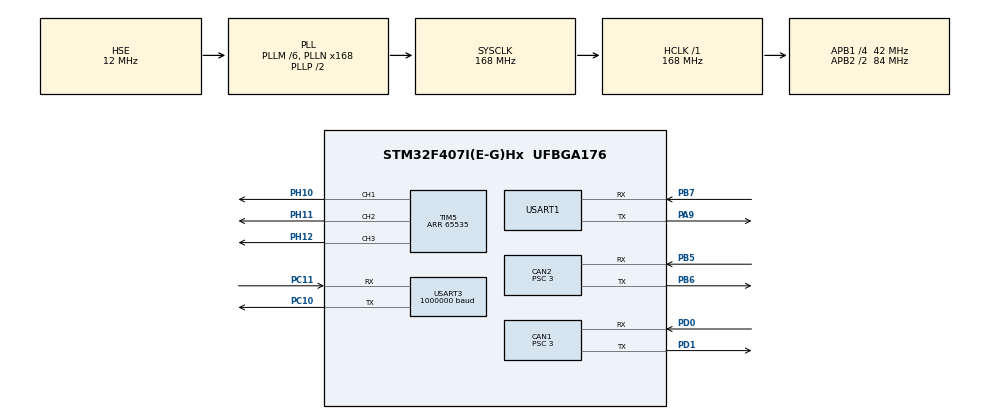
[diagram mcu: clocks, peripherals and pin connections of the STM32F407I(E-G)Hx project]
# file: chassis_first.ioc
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CAN1.BS1=CAN_BS1_10TQ
CAN1.BS2=CAN_BS2_3TQ
CAN1.CalculateBaudRate=1000000
CAN1.CalculateTimeBit=1000
CAN1.CalculateTimeQuantum=71.42857142857143
CAN1.Prescaler=3
CAN2.BS1=CAN_BS1_10TQ
CAN2.BS2=CAN_BS2_3TQ
CAN2.CalculateBaudRate=1000000
CAN2.CalculateTimeBit=1000
CAN2.CalculateTimeQuantum=71.42857142857143
CAN2.Prescaler=3
Dma.Request0=USART1_TX
Dma.Request1=USART3_RX
Dma.USART1_TX.0.Direction=DMA_MEMORY_TO_PERIPH
Dma.USART1_TX.0.FIFOMode=DMA_FIFOMODE_DISABLE
Dma.USART1_TX.0.Instance=DMA2_Stream7
Dma.USART1_TX.0.MemDataAlignment=DMA_MDATAALIGN_BYTE
Dma.USART1_TX.0.MemInc=DMA_MINC_ENABLE
Dma.USART1_TX.0.Mode=DMA_NORMAL
Dma.USART1_TX.0.PeriphDataAlignment=DMA_PDATAALIGN_BYTE
Dma.USART1_TX.0.PeriphInc=DMA_PINC_DISABLE
Dma.USART1_TX.0.Priority=DMA_PRIORITY_VERY_HIGH
Dma.USART3_RX.1.Direction=DMA_PERIPH_TO_MEMORY
Dma.USART3_RX.1.FIFOMode=DMA_FIFOMODE_DISABLE
Dma.USART3_RX.1.Instance=DMA1_Stream1
Dma.USART3_RX.1.MemDataAlignment=DMA_MDATAALIGN_BYTE
Dma.USART3_RX.1.MemInc=DMA_MINC_ENABLE
Dma.USART3_RX.1.Mode=DMA_CIRCULAR
Dma.USART3_RX.1.PeriphDataAlignment=DMA_PDATAALIGN_BYTE
Dma.USART3_RX.1.PeriphInc=DMA_PINC_DISABLE
Dma.USART3_RX.1.Priority=DMA_PRIORITY_VERY_HIGH
FREERTOS.Tasks01=LED_Task,0,128,LED_Task_entry,As weak,NULL,Dynamic,NULL,NULL;Chassis_Task,-3,128,Chassis_Task_entry,As weak,NULL,Dynamic,NULL,NULL;Task_three,-3,128,Three_entry,As weak,NULL,Dynamic,NULL,NULL
Mcu.Family=STM32F4
Mcu.Name=STM32F407I(E-G)Hx
Mcu.Package=UFBGA176
NVIC.CAN1_RX0_IRQn=true\:5\:0\:false\:false\:true\:true\:true\:true\:true
NVIC.CAN2_RX0_IRQn=true\:5\:0\:false\:false\:true\:true\:true\:true\:true
NVIC.DMA1_Stream1_IRQn=true\:5\:0\:false\:false\:true\:true\:false\:true\:true
NVIC.DMA2_Stream7_IRQn=true\:5\:0\:false\:false\:true\:true\:false\:true\:true
NVIC.PriorityGroup=NVIC_PRIORITYGROUP_4
NVIC.TIM6_DAC_IRQn=true\:15\:0\:false\:false\:true\:false\:false\:true\:true
NVIC.TimeBase=TIM6_DAC_IRQn
NVIC.TimeBaseIP=TIM6
NVIC.USART1_IRQn=true\:5\:0\:false\:false\:true\:true\:false\:true\:true
NVIC.USART3_IRQn=true\:5\:0\:false\:false\:true\:true\:true\:true\:true
PA13.Mode=Serial_Wire
PA13.Signal=SYS_JTMS-SWDIO
PA14.Mode=Serial_Wire
PA14.Signal=SYS_JTCK-SWCLK
PA9.Mode=Asynchronous
PA9.Signal=USART1_TX
PB5.Mode=CAN_Activate
PB5.Signal=CAN2_RX
PB6.Mode=CAN_Activate
PB6.Signal=CAN2_TX
PB7.Mode=Asynchronous
PB7.Signal=USART1_RX
PC10.Mode=Asynchronous
PC10.Signal=USART3_TX
PC11.Mode=Asynchronous
PC11.Signal=USART3_RX
PD0.Mode=CAN_Activate
PD0.Signal=CAN1_RX
PD1.Mode=CAN_Activate
PD1.Signal=CAN1_TX
PH0-OSC_IN.Mode=HSE-External-Oscillator
PH0-OSC_IN.Signal=RCC_OSC_IN
PH1-OSC_OUT.Mode=HSE-External-Oscillator
PH1-OSC_OUT.Signal=RCC_OSC_OUT
PH10.Signal=S_TIM5_CH1
PH11.Signal=S_TIM5_CH2
PH12.Signal=S_TIM5_CH3
ProjectManager.HeapSize=0x200
ProjectManager.StackSize=0x400
ProjectManager.TargetToolchain=STM32CubeIDE
RCC.48MHZClocksFreq_Value=84000000
RCC.AHBFreq_Value=168000000
RCC.APB1CLKDivider=RCC_HCLK_DIV4
RCC.APB1Freq_Value=42000000
RCC.APB1TimFreq_Value=84000000
RCC.APB2CLKDivider=RCC_HCLK_DIV2
RCC.APB2Freq_Value=84000000
RCC.APB2TimFreq_Value=168000000
RCC.CortexFreq_Value=168000000
RCC.HCLKFreq_Value=168000000
RCC.HSE_VALUE=12000000
RCC.HSI_VALUE=16000000
RCC.LSE_VALUE=32768
RCC.PLLM=6
RCC.PLLN=168
RCC.PLLSourceVirtual=RCC_PLLSOURCE_HSE
RCC.SYSCLKFreq_VALUE=168000000
RCC.SYSCLKSource=RCC_SYSCLKSOURCE_PLLCLK
RCC.VCOOutputFreq_Value=336000000
SH.S_TIM5_CH1.0=TIM5_CH1,PWM Generation1 CH1
SH.S_TIM5_CH2.0=TIM5_CH2,PWM Generation2 CH2
SH.S_TIM5_CH3.0=TIM5_CH3,PWM Generation3 CH3
TIM5.Channel-PWM\ Generation1\ CH1=TIM_CHANNEL_1
TIM5.Channel-PWM\ Generation2\ CH2=TIM_CHANNEL_2
TIM5.Channel-PWM\ Generation3\ CH3=TIM_CHANNEL_3
TIM5.Period=65535
TIM5.Pulse-PWM\ Generation1\ CH1=10000
TIM5.Pulse-PWM\ Generation2\ CH2=10000
TIM5.Pulse-PWM\ Generation3\ CH3=10000
USART1.Parity=PARITY_NONE
USART1.VirtualMode=VM_ASYNC
USART3.BaudRate=1000000
USART3.Parity=PARITY_EVEN
USART3.VirtualMode=VM_ASYNC
VP_FREERTOS_VS_CMSIS_V1.Mode=CMSIS_V1
VP_SYS_VS_tim6.Mode=TIM6
board=custom

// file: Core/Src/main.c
/* USER CODE BEGIN Header */
/**
  ******************************************************************************
  * @file           : main.c
  * @brief          : Main program body
  ******************************************************************************
  * @attention
  *
  * Copyright (c) 2025 STMicroelectronics.
  * All rights reserved.
  *
  * This software is licensed under terms that can be found in the LICENSE file
  * in the root directory of this software component.
  * If no LICENSE file comes with this software, it is provided AS-IS.
  *
  ******************************************************************************
  */
/* USER CODE END Header */
#include "main.h"
#include "cmsis_os.h"
#include "can.h"
#include "dma.h"
#include "tim.h"
#include "usart.h"
#include "gpio.h"

/* USER CODE BEGIN PV */
#include "app.h"
/* USER CODE END PV */

void SystemClock_Config(void);
void MX_FREERTOS_Init(void);

int main(void)
{

  /* MCU Configuration--------------------------------------------------------*/

  /* Reset of all peripherals, Initializes the Flash interface and the Systick. */
  HAL_Init();

  /* Configure the system clock */
  SystemClock_Config();

  /* Initialize all configured peripherals */
  MX_GPIO_Init();
  MX_DMA_Init();
  MX_CAN1_Init();
  MX_CAN2_Init();
  MX_TIM5_Init();
  MX_USART1_UART_Init();
  MX_USART3_UART_Init();
  /* USER CODE BEGIN 2 */
app_init();
  /* USER CODE END 2 */

  /* Call init function for freertos objects (in cmsis_os2.c) */
  MX_FREERTOS_Init();

  /* Start scheduler */
  osKernelStart();

  /* We should never get here as control is now taken by the scheduler */

  /* Infinite loop */
  while (1)
  {

  }
}

void SystemClock_Config(void)
{
  RCC_OscInitTypeDef RCC_OscInitStruct = {0};
  RCC_ClkInitTypeDef RCC_ClkInitStruct = {0};

  /** Configure the main internal regulator output voltage
  */
  __HAL_RCC_PWR_CLK_ENABLE();
  __HAL_PWR_VOLTAGESCALING_CONFIG(PWR_REGULATOR_VOLTAGE_SCALE1);

  /** Initializes the RCC Oscillators according to the specified parameters
  * in the RCC_OscInitTypeDef structure.
  */
  RCC_OscInitStruct.OscillatorType = RCC_OSCILLATORTYPE_HSE;
  RCC_OscInitStruct.HSEState = RCC_HSE_ON;
  RCC_OscInitStruct.PLL.PLLState = RCC_PLL_ON;
  RCC_OscInitStruct.PLL.PLLSource = RCC_PLLSOURCE_HSE;
  RCC_OscInitStruct.PLL.PLLM = 6;
  RCC_OscInitStruct.PLL.PLLN = 168;
  RCC_OscInitStruct.PLL.PLLP = RCC_PLLP_DIV2;
  RCC_OscInitStruct.PLL.PLLQ = 4;
  if (HAL_RCC_OscConfig(&RCC_OscInitStruct) != HAL_OK)
  {
    Error_Handler();
  }

  /** Initializes the CPU, AHB and APB buses clocks
  */
  RCC_ClkInitStruct.ClockType = RCC_CLOCKTYPE_HCLK|RCC_CLOCKTYPE_SYSCLK
                              |RCC_CLOCKTYPE_PCLK1|RCC_CLOCKTYPE_PCLK2;
  RCC_ClkInitStruct.SYSCLKSource = RCC_SYSCLKSOURCE_PLLCLK;
  RCC_ClkInitStruct.AHBCLKDivider = RCC_SYSCLK_DIV1;
  RCC_ClkInitStruct.APB1CLKDivider = RCC_HCLK_DIV4;
  RCC_ClkInitStruct.APB2CLKDivider = RCC_HCLK_DIV2;

  if (HAL_RCC_ClockConfig(&RCC_ClkInitStruct, FLASH_LATENCY_5) != HAL_OK)
  {
    Error_Handler();
  }
}

void HAL_TIM_PeriodElapsedCallback(TIM_HandleTypeDef *htim)
{
  if (htim->Instance == TIM6) {
    HAL_IncTick();
  }
}

void Error_Handler(void)
{
  __disable_irq();
  while (1)
  {
  }
}

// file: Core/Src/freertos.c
/* USER CODE BEGIN Header */
/**
  ******************************************************************************
  * File Name          : freertos.c
  * Description        : Code for freertos applications
  ******************************************************************************
  * @attention
  *
  * Copyright (c) 2025 STMicroelectronics.
  * All rights reserved.
  *
  * This software is licensed under terms that can be found in the LICENSE file
  * in the root directory of this software component.
  * If no LICENSE file comes with this software, it is provided AS-IS.
  *
  ******************************************************************************
  */
/* USER CODE END Header */

#include "FreeRTOS.h"
#include "task.h"
#include "main.h"
#include "cmsis_os.h"

/* USER CODE BEGIN Includes */
#include "tim.h"
#include "stm32f4xx.h"
/* USER CODE END Includes */

osThreadId LED_TaskHandle;
osThreadId Chassis_TaskHandle;
osThreadId Task_threeHandle;

void LED_Task_entry(void const * argument);
void Chassis_Task_entry(void const * argument);
void Three_entry(void const * argument);

void MX_FREERTOS_Init(void); /* (MISRA C 2004 rule 8.1) */

/* GetIdleTaskMemory prototype (linked to static allocation support) */
void vApplicationGetIdleTaskMemory( StaticTask_t **ppxIdleTaskTCBBuffer, StackType_t **ppxIdleTaskStackBuffer, uint32_t *pulIdleTaskStackSize );

/* USER CODE BEGIN GET_IDLE_TASK_MEMORY */
static StaticTask_t xIdleTaskTCBBuffer;
static StackType_t xIdleStack[configMINIMAL_STACK_SIZE];

void vApplicationGetIdleTaskMemory( StaticTask_t **ppxIdleTaskTCBBuffer, StackType_t **ppxIdleTaskStackBuffer, uint32_t *pulIdleTaskStackSize )
{
  *ppxIdleTaskTCBBuffer = &xIdleTaskTCBBuffer;
  *ppxIdleTaskStackBuffer = &xIdleStack[0];
  *pulIdleTaskStackSize = configMINIMAL_STACK_SIZE;
  /* place for user code */
}
/* USER CODE END GET_IDLE_TASK_MEMORY */

void MX_FREERTOS_Init(void) {

  /* Create the thread(s) */
  /* definition and creation of LED_Task */
  osThreadDef(LED_Task, LED_Task_entry, osPriorityNormal, 0, 128);
  LED_TaskHandle = osThreadCreate(osThread(LED_Task), NULL);

  /* definition and creation of Chassis_Task */
  osThreadDef(Chassis_Task, Chassis_Task_entry, osPriorityIdle, 0, 128);
  Chassis_TaskHandle = osThreadCreate(osThread(Chassis_Task), NULL);

  /* definition and creation of Task_three */
  osThreadDef(Task_three, Three_entry, osPriorityIdle, 0, 128);
  Task_threeHandle = osThreadCreate(osThread(Task_three), NULL);

}

/* USER CODE BEGIN Header_LED_Task_entry */
/**
  * @brief  Function implementing the LED_Task thread.
  * @param  argument: Not used
  * @retval None
  */
void aRGB_led_show(uint32_t aRGB)
{
  static uint8_t alpha;
  static uint16_t red,green,blue;

  alpha = (aRGB & 0xFF000000) >> 24;
  red = ((aRGB & 0x00FF0000) >> 16) * alpha;
  green = ((aRGB & 0x0000FF00) >> 8) * alpha;
  blue = ((aRGB & 0x000000FF) >> 0) * alpha;

  __HAL_TIM_SetCompare(&htim5, TIM_CHANNEL_1, blue);
  __HAL_TIM_SetCompare(&htim5, TIM_CHANNEL_2, green);
  __HAL_TIM_SetCompare(&htim5, TIM_CHANNEL_3, red);
}
#define __HAL_TIM_SET_COMPARE(__HANDLE__, __CHANNEL__, __COMPARE__) \
(((__CHANNEL__) == TIM_CHANNEL_1) ? ((__HANDLE__)->Instance->CCR1 = (__COMPARE__)) :\
 ((__CHANNEL__) == TIM_CHANNEL_2) ? ((__HANDLE__)->Instance->CCR2 = (__COMPARE__)) :\
 ((__CHANNEL__) == TIM_CHANNEL_3) ? ((__HANDLE__)->Instance->CCR3 = (__COMPARE__)) :\
 ((__HANDLE__)->Instance->CCR4 = (__COMPARE__)))
/* USER CODE END Header_LED_Task_entry */
__weak void LED_Task_entry(void const * argument)
{
  /* USER CODE BEGIN LED_Task_entry */

    HAL_TIM_PWM_Start(&htim5, TIM_CHANNEL_1);
    HAL_TIM_PWM_Start(&htim5, TIM_CHANNEL_2);
    HAL_TIM_PWM_Start(&htim5, TIM_CHANNEL_3);
  /* Infinite loop */
  for(;;)
  {
    aRGB_led_show(0x7F123456);
    osDelay(1000);
    aRGB_led_show(0xffff0000);
    osDelay(1000);
    aRGB_led_show(0xFFFFFF56);
    osDelay(1000);

  }
  /* USER CODE END LED_Task_entry */
}

/* USER CODE BEGIN Header_Chassis_Task_entry */
/**
* @brief Function implementing the Chassis_Task thread.
* @param argument: Not used
* @retval None
*/
#include "can_r.h"
#include "pid.h"

int16_t led_cnt;
int16_t text_speed = 0;
int16_t target_yaw_speed;
float target_yaw_angle = 0;
float now_yaw_angle;
extern moto_info_t motor_yaw_info;
extern pid_struct_t gimbal_yaw_speed_pid;
extern pid_struct_t gimbal_yaw_angle_pid;

double msp(double x, double in_min, double in_max, double out_min, double out_max)//映射函数，将编码器的值（0~8191）转换为弧度制的角度值（-pi~pi�?
{
  return (x-in_min)*(out_max-out_min)/(in_max-in_min)+out_min;
}
int trigger_speed = 0;
int shoot_speed_1= 0;    //-16384—�??16834
int shoot_speed_2= 0;    //-16384—�??16834
/* USER CODE END Header_Chassis_Task_entry */
__weak void Chassis_Task_entry(void const * argument)
{
  /* USER CODE BEGIN Chassis_Task_entry */
  can_filter_init();//can初始�?
  trigger_PID_init();
  shoot_PID_init();
  /* Infinite loop */
  trigger_speed = -2000;
  shoot_speed_1 = 6000;
  shoot_speed_2 = -6000;

  for(;;)
  {
    pid_calc(&trigger_speed_pid,trigger_speed,trigger_info.rotor_speed);
    pid_calc(&shoot_speed_pid_1,shoot_speed_1,shoot_info_1.rotor_speed);
    pid_calc(&shoot_speed_pid_2,shoot_speed_2,shoot_info_2.rotor_speed);
    set_shoot_motor_voltage(&hcan1,trigger_speed_pid.output,shoot_speed_pid_1.output,shoot_speed_pid_2.output);
    osDelay(1);
  }
  /* USER CODE END Chassis_Task_entry */
}

/* USER CODE BEGIN Header_Three_entry */
/**
* @brief Function implementing the Task_three thread.
* @param argument: Not used
* @retval None
*/
#include "dbus_control.h"
/* USER CODE END Header_Three_entry */
__weak void Three_entry(void const * argument)
{
  /* USER CODE BEGIN Three_entry */
  /* Infinite loop */
  // dbus_uart_init();
  for(;;)
  {
    osDelay(1);
  }
  /* USER CODE END Three_entry */
}
